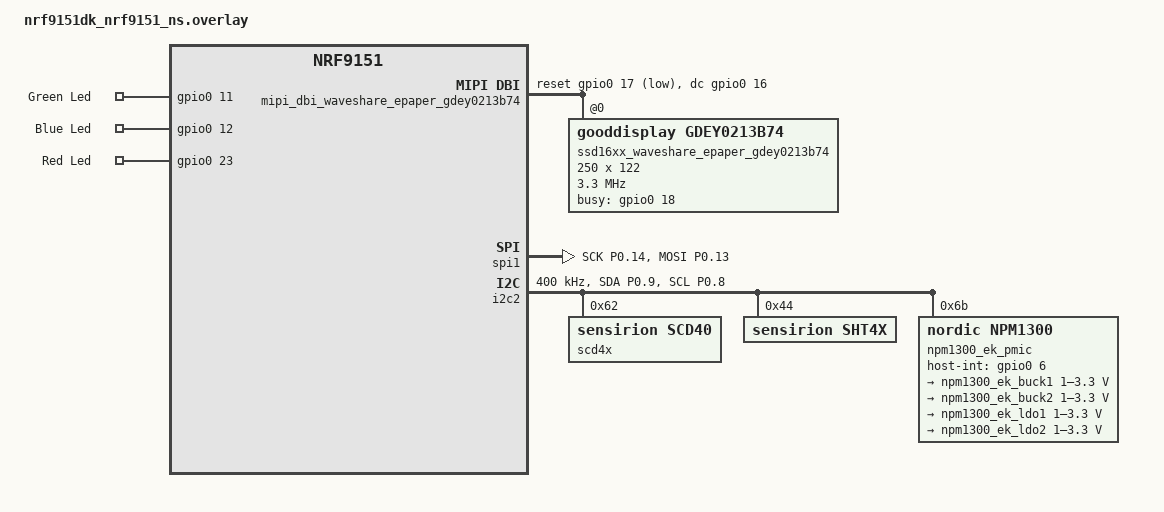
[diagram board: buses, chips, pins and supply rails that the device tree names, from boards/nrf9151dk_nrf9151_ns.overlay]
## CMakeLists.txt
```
cmake_minimum_required(VERSION 3.20.0)

find_package(Zephyr REQUIRED HINTS $ENV{ZEPHYR_BASE})
project(AWS_IoT_MQTT)

# NORDIC SDK APP START
target_sources(app PRIVATE src/main.c)


# Add the component AWS_IOT_MQTT
target_sources(app PRIVATE
    components/aws_iot_mqtt/aws_iot_mqtt.c)
target_include_directories(app
    PRIVATE
    ${CMAKE_CURRENT_SOURCE_DIR}/components/aws_iot_mqtt
)

# Add the component JSON_PAYLOAD
target_sources(app PRIVATE
    components/json_payload/json_payload.c)
target_include_directories(app
    PRIVATE
    ${CMAKE_CURRENT_SOURCE_DIR}/components/json_payload
)

# Add the component JSON_PAYLOAD
target_sources(app PRIVATE
    components/certificates/certificates.c)
target_include_directories(app
    PRIVATE
    ${CMAKE_CURRENT_SOURCE_DIR}/components/certificates
)

# Add the component SLEEP
target_sources(app PRIVATE
    components/sleep/sleep.c)
target_include_directories(app
    PRIVATE
    ${CMAKE_CURRENT_SOURCE_DIR}/components/sleep
)

# Add the component COMMON
target_sources(app PRIVATE
    components/common/common.c)
target_include_directories(app
    PRIVATE
    ${CMAKE_CURRENT_SOURCE_DIR}/components/common
)

# Add the component LTE_MANAGER
target_sources(app PRIVATE
    components/lte_manager/lte_manager.c)
target_include_directories(app
    PRIVATE
    ${CMAKE_CURRENT_SOURCE_DIR}/components/lte_manager
)

# Add the component sht40 sensor
target_sources(app PRIVATE
    components/sht40/sht40.c)
target_include_directories(app
    PRIVATE
    ${CMAKE_CURRENT_SOURCE_DIR}/components/sht40
)

# Add the component scd41 sensor
target_sources(app PRIVATE
    components/scd41/scd41.c)
target_include_directories(app
    PRIVATE
    ${CMAKE_CURRENT_SOURCE_DIR}/components/scd41
)

# Add the component led's
target_sources(app PRIVATE
    components/leds/led.c)
target_include_directories(app
    PRIVATE
    ${CMAKE_CURRENT_SOURCE_DIR}/components/leds
)

# Add the component npm1300
target_sources(app PRIVATE
    components/npm1300/npm1300.c)
target_include_directories(app
    PRIVATE
    ${CMAKE_CURRENT_SOURCE_DIR}/components/npm1300
)

target_sources(app PRIVATE
    components/epd/epd_display.c)
target_include_directories(app
    PRIVATE
    ${CMAKE_CURRENT_SOURCE_DIR}/components/epd
)
```

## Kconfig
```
menu "AWS IoT Settings"

config AWS_IOT_APP_VERSION
	string "Application version"
	default "v1.0.0"

config AWS_IOT_JSON_MESSAGE_SIZE_MAX
	int "Maximum size of JSON messages"
	default 200
	help
	  Maximum size of JSON messages that are sent to AWS IoT.

config AWS_IOT_PUBLICATION_INTERVAL_SECONDS
	int "Interval in seconds that the sample will publish data"
	default 60

config AWS_IOT_CONNECTION_RETRY_TIMEOUT_SECONDS
	int "Number of seconds between each AWS IoT connection retry"
	default 30

config AWS_IOT_DEVICE_ID_USE_HW_ID
	bool "Use HW ID as device ID"
	select AWS_IOT_CLIENT_ID_APP
	depends on HW_ID_LIBRARY
	help
	  Use the devices's hardware ID as device ID when connecting to AWS IOT

config AWS_IOT_USE_EDRX
	bool "Use edrx to save power"
	default false
	help
	  Use the extended discontineous reception method of the lte to save power

config AWS_IOT_USE_LTE_POWER_OFF
	bool "Use lte power off to save power"
	default false
	help
	  Use the lte power off method to completly power of the lte during device sleep to save power

module = AWS_IOTMQTT
module-str = AWS IoT MQTT
source "${ZEPHYR_BASE}/subsys/logging/Kconfig.template.log_config"

endmenu

menu "Zephyr Kernel"
source "Kconfig.zephyr"
endmenu
```

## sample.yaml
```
sample:
  name: AWS IoT MQTT
tests:
  sample.net.aws_iot:
    sysbuild: true
    tags: ci_build sysbuild ci_samples_net
    build_only: true
    build_on_all: true
    integration_platforms:
      - nrf9160dk/nrf9160/ns
      - nrf9151dk/nrf9151/ns

    platform_allow:
      - nrf9160dk/nrf9160/ns
      - nrf9151dk/nrf9151/ns
```

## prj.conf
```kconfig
# General
CONFIG_LOG=y
CONFIG_LOG_BUFFER_SIZE=2048
CONFIG_JSON_LIBRARY=y
CONFIG_REBOOT=y

CONFIG_NEWLIB_LIBC=y
CONFIG_NEWLIB_LIBC_FLOAT_PRINTF=y
CONFIG_FPU=y
CONFIG_CBPRINTF_FP_SUPPORT=y

# Heap and stacks
CONFIG_HEAP_MEM_POOL_SIZE=65536
CONFIG_MAIN_STACK_SIZE=25192
# CONFIG_SYSTEM_WORKQUEUE_STACK_SIZE=4096

# LTE link controller
CONFIG_LTE_LINK_CONTROL=y
CONFIG_LTE_LC_PSM_MODULE=y
CONFIG_LTE_LC_EDRX_MODULE=y

# AT commands interface
# CONFIG_AT_HOST_LIBRARY=y
# CONFIG_UART_INTERRUPT_DRIVEN=y

CONFIG_CJSON_LIB=y
CONFIG_NEWLIB_LIBC=y
CONFIG_NEWLIB_LIBC_FLOAT_PRINTF=y

# Network
CONFIG_NETWORKING=y
CONFIG_NET_NATIVE=y
CONFIG_NET_IPV4=y
CONFIG_NET_CONNECTION_MANAGER=y

# AWS IoT library
CONFIG_AWS_IOT=y
CONFIG_AWS_IOT_APP_VERSION="v1.0.0"
# CONFIG_AWS_IOT_CLIENT_ID_STATIC="359746167121867"
CONFIG_AWS_IOT_BROKER_HOST_NAME="a1pex7b5gbosrz-ats.iot.us-east-1.amazonaws.com"
CONFIG_AWS_IOT_TOPIC_UPDATE_DELTA_SUBSCRIBE=y
CONFIG_AWS_IOT_TOPIC_GET_ACCEPTED_SUBSCRIBE=y
CONFIG_AWS_IOT_TOPIC_GET_REJECTED_SUBSCRIBE=y
CONFIG_AWS_IOT_DEVICE_ID_USE_HW_ID=y
CONFIG_AWS_FOTA_DOWNLOAD_SECURITY_TAG=30

# MQTT helper library
CONFIG_MQTT_HELPER=y
CONFIG_MQTT_HELPER_SEC_TAG=30
CONFIG_MQTT_HELPER_LAST_WILL=y
CONFIG_MQTT_HELPER_STACK_SIZE=4096
CONFIG_MQTT_HELPER_LOG_LEVEL_OFF=y

# MQTT - Maximum MQTT keepalive timeout specified by AWS IoT Core
CONFIG_MQTT_KEEPALIVE=1200
CONFIG_MQTT_CLEAN_SESSION=y

CONFIG_HW_ID_LIBRARY=y
CONFIG_HW_ID_LIBRARY_SOURCE_IMEI=y

# One of the below should be n
CONFIG_AWS_IOT_USE_EDRX=y
CONFIG_AWS_IOT_USE_LTE_POWER_OFF=n

# CONFIG_AWS_IOT_LOG_LEVEL_DBG=y
# CONFIG_AWS_FOTA_LOG_LEVEL_DBG=y



# POWER MANAGEMENT

CONFIG_PM_DEVICE=n
CONFIG_POWEROFF=n




CONFIG_AT_HOST_LIBRARY=n

CONFIG_GPIO=y



CONFIG_LOG=y
CONFIG_LOG_DEFAULT_LEVEL=3
CONFIG_LOG_MODE_IMMEDIATE=y
CONFIG_LOG_BACKEND_UART=n
CONFIG_LOG_BACKEND_RTT=y




# Enable SEGGER RTT as log backend
CONFIG_USE_SEGGER_RTT=y
CONFIG_LOG_BACKEND_RTT=y

# RTT Configuration - blocking mode ensures logs aren't dropped
CONFIG_LOG_BACKEND_RTT_MODE_BLOCK=y
CONFIG_SEGGER_RTT_BUFFER_SIZE_UP=4096

# Disable UART console/logging (using RTT instead)
CONFIG_CONSOLE=n
CONFIG_UART_CONSOLE=n
CONFIG_LOG_BACKEND_UART=n




CONFIG_AWS_IOT_JSON_MESSAGE_SIZE_MAX=1024

CONFIG_REGULATOR=y
CONFIG_I2C_SHELL=y
CONFIG_FUEL_GAUGE=y
CONFIG_NRF_FUEL_GAUGE=y
CONFIG_NRF_FUEL_GAUGE_VARIANT_SECONDARY_CELL=y
CONFIG_REQUIRES_FLOAT_PRINTF=y
# CONFIG_MAIN_STACK_SIZE=1536


#ec generated settings to enable SEGGER RTT logging backend
CONFIG_SENSOR=y
CONFIG_I2C=y
CONFIG_SHT4X=y
CONFIG_SCD4X=y

# Enable the dedicated nPM1300 driver-SEE NRF github npm1300 one button repo
# CONFIG_PMIC_NPM1300=y
CONFIG_SHELL=y
CONFIG_LOG=y
CONFIG_LED=y
CONFIG_GPIO=y
CONFIG_REGULATOR=y
CONFIG_SENSOR=y
CONFIG_I2C_SHELL=y
CONFIG_LOG_CMDS=y


# nRF modem library
CONFIG_NRF_MODEM_LIB=y

# Modem key management (certificates in modem)
CONFIG_MODEM_KEY_MGMT=y


CONFIG_DOWNLOADER_STACK_SIZE=8192

# Downloader stack size (default is often 2048, not enough for TLS + FOTA)
CONFIG_DOWNLOADER_STACK_SIZE=4096

CONFIG_SYSTEM_WORKQUEUE_STACK_SIZE=8192

# SPI for display
CONFIG_SPI=y
CONFIG_SPI_NRFX=y
CONFIG_SPI_NRFX_RAM_BUFFER_SIZE=4096

# Display driver
CONFIG_DISPLAY=y
CONFIG_DISPLAY_LOG_LEVEL_DBG=y
CONFIG_SSD16XX=y

# Silence TFM logs
CONFIG_TFM_LOG_LEVEL_SILENCE=y

CONFIG_NRFX_SPIM1=y
```

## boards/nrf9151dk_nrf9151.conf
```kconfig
# General
CONFIG_HW_STACK_PROTECTION=y
CONFIG_HW_ID_LIBRARY_SOURCE_IMEI=y
CONFIG_PICOLIBC=y

# Modem related configurations
CONFIG_MODEM_INFO=y
CONFIG_AT_HOST_LIBRARY=n

# Disable Duplicate Address Detection (DAD)
# due to not being properly implemented for offloaded interfaces.
CONFIG_NET_IPV6_NBR_CACHE=n
CONFIG_NET_IPV6_MLD=n

# Zephyr NET Connection Manager and Connectivity layer.
CONFIG_NET_CONNECTION_MANAGER_MONITOR_STACK_SIZE=1024
CONFIG_NRF_MODEM_LIB_NET_IF=y

# Bootloader and FOTA related configurations

# MCUBOOT
CONFIG_BOOTLOADER_MCUBOOT=y
CONFIG_MCUBOOT_IMG_MANAGER=y

# Image manager
CONFIG_IMG_MANAGER=y
CONFIG_STREAM_FLASH=y
CONFIG_FLASH_MAP=y
CONFIG_FLASH=y
CONFIG_IMG_ERASE_PROGRESSIVELY=y

# AWS FOTA
CONFIG_AWS_FOTA=y
CONFIG_FOTA_DOWNLOAD=y
CONFIG_DOWNLOADER=y
CONFIG_DFU_TARGET=y

# Download client (needed by AWS FOTA)
# CONFIG_DOWNLOAD_CLIENT=y
# CONFIG_DOWNLOAD_CLIENT_STACK_SIZE=4096

#RTT 
# CONFIG_USE_SEGGER_RTT=y
# CONFIG_RTT_CONSOLE=y
# CONFIG_UART_CONSOLE=n

# # POWER MANAGEMENT

CONFIG_PM_DEVICE=y
CONFIG_POWEROFF=y

# Enable UART driver
CONFIG_SERIAL=y

# Enable console
CONFIG_CONSOLE=y
```

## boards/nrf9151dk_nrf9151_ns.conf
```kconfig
# General
CONFIG_HW_STACK_PROTECTION=y
CONFIG_HW_ID_LIBRARY_SOURCE_IMEI=y
CONFIG_PICOLIBC=y

# Modem related configurations
CONFIG_MODEM_INFO=y
CONFIG_AT_HOST_LIBRARY=n

# Disable Duplicate Address Detection (DAD)
# due to not being properly implemented for offloaded interfaces.
CONFIG_NET_IPV6_NBR_CACHE=n
CONFIG_NET_IPV6_MLD=n

# Zephyr NET Connection Manager and Connectivity layer.
CONFIG_NET_CONNECTION_MANAGER_MONITOR_STACK_SIZE=1024
CONFIG_NRF_MODEM_LIB_NET_IF=y

# Bootloader and FOTA related configurations

# MCUBOOT
CONFIG_BOOTLOADER_MCUBOOT=y
CONFIG_MCUBOOT_IMG_MANAGER=y

# Image manager
CONFIG_IMG_MANAGER=y
CONFIG_STREAM_FLASH=y
CONFIG_FLASH_MAP=y
CONFIG_FLASH=y
CONFIG_IMG_ERASE_PROGRESSIVELY=y

# AWS FOTA
CONFIG_AWS_FOTA=y
CONFIG_FOTA_DOWNLOAD=y
CONFIG_DOWNLOADER=y
CONFIG_DFU_TARGET=y

# Download client (needed by AWS FOTA)
# CONFIG_DOWNLOAD_CLIENT=y
# CONFIG_DOWNLOAD_CLIENT_STACK_SIZE=4096



#RTT 
CONFIG_USE_SEGGER_RTT=y
CONFIG_RTT_CONSOLE=y
CONFIG_UART_CONSOLE=n

# POWER MANAGEMENT

CONFIG_PM_DEVICE=n
CONFIG_POWEROFF=n

# Enable UART driver
CONFIG_SERIAL=n

# Enable console
CONFIG_CONSOLE=n

CONFIG_AT_HOST_LIBRARY=n
```

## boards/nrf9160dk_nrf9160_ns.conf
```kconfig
# General
CONFIG_HW_STACK_PROTECTION=y
CONFIG_HW_ID_LIBRARY_SOURCE_IMEI=y
CONFIG_PICOLIBC=y

# Modem related configurations
CONFIG_MODEM_INFO=y
CONFIG_AT_HOST_LIBRARY=y

# Disable Duplicate Address Detection (DAD)
# due to not being properly implemented for offloaded interfaces.
CONFIG_NET_IPV6_NBR_CACHE=n
CONFIG_NET_IPV6_MLD=n

# Zephyr NET Connection Manager and Connectivity layer.
CONFIG_NET_CONNECTION_MANAGER_MONITOR_STACK_SIZE=1024
CONFIG_NRF_MODEM_LIB_NET_IF=y

# Bootloader and FOTA related configurations

# MCUBOOT
CONFIG_BOOTLOADER_MCUBOOT=y
CONFIG_MCUBOOT_IMG_MANAGER=y

# Image manager
CONFIG_IMG_MANAGER=y
CONFIG_STREAM_FLASH=y
CONFIG_FLASH_MAP=y
CONFIG_FLASH=y
CONFIG_IMG_ERASE_PROGRESSIVELY=y

# AWS FOTA
CONFIG_AWS_FOTA=y
CONFIG_FOTA_DOWNLOAD=y
CONFIG_DFU_TARGET=y

# Download client (needed by AWS FOTA)
CONFIG_DOWNLOAD_CLIENT=y
CONFIG_DOWNLOAD_CLIENT_STACK_SIZE=4096
```

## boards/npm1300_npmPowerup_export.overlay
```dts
/*
* Copyright (C) 2023 Nordic Semiconductor ASA
* SPDX-License-Identifier: Apache-2.0
*/

#include <dt-bindings/regulator/npm1300.h>
#include <zephyr/dt-bindings/input/input-event-codes.h>

&arduino_i2c {
   npm1300_ek_pmic: pmic@6b {
       compatible = "nordic,npm1300";
       reg = <0x6b>;

       
    // ship-to-active-time = <96>;

       
    // long-press-reset = "one_button";


       npm1300_ek_gpio: gpio-controller {
           compatible = "nordic,npm1300-gpio";
           gpio-controller;
           #gpio-cells = <2>;
           ngpios = <5>;
       };

       npm1300_ek_regulators: regulators {
           compatible = "nordic,npm1300-regulator";

           
npm1300_ek_buck1: BUCK1 {
    regulator-min-microvolt = <1000000>;
    regulator-max-microvolt = <3300000>;
    
    retention-microvolt = <1000000>;
    
    
    
    
    
};



npm1300_ek_buck2: BUCK2 {
    regulator-min-microvolt = <1000000>;
    regulator-max-microvolt = <3300000>;
    
    retention-microvolt = <1000000>;
    
    
    
    
    
};


            
npm1300_ek_ldo1: LDO1 {
    regulator-min-microvolt = <1000000>;
    regulator-max-microvolt = <3300000>;
    
    regulator-initial-mode = <NPM1300_LDSW_MODE_LDSW>;
    
    
};



npm1300_ek_ldo2: LDO2 {
    regulator-min-microvolt = <1000000>;
    regulator-max-microvolt = <3300000>;
    
    regulator-initial-mode = <NPM1300_LDSW_MODE_LDSW>;
    
    regulator-boot-on;
};

       };

       
npm1300_ek_charger: charger {
    compatible = "nordic,npm1300-charger";
    term-microvolt = <4099999.9999999995>;
    term-warm-microvolt = <3600000>;
    // term-current-percent = <10>;
    current-microamp = <110000>;
    // trickle-microvolt = <2500000>;
    dischg-limit-microamp = <1340000>;
    vbus-limit-microamp = <500000>;
    thermistor-ohms = <10000>;
    thermistor-beta = <3380>;
    // disable-recharge;
    charging-enable;
    
};

       
npm1300_ek_leds: leds {
    compatible = "nordic,npm1300-led";
    nordic,led0-mode = "error";    
nordic,led1-mode = "charging";    
nordic,led2-mode = "host";
};

   };
};
```

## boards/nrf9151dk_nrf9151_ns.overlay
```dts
#include <dt-bindings/regulator/npm1300.h>
#include <zephyr/dt-bindings/input/input-event-codes.h>

/ {
    chosen {
        zephyr,display = &ssd16xx_waveshare_epaper_gdey0213b74;
		//  zephyr,console = &uart0;
        // zephyr,shell-uart = &uart0;
        // zephyr,uart-mcumgr = &uart0;
    };
    mipi_dbi_waveshare_epaper_gdey0213b74 {
		compatible = "zephyr,mipi-dbi-spi";
		spi-dev = <&spi1>;
		dc-gpios = <&gpio0 16 GPIO_ACTIVE_HIGH>;	/* DC Pin*/
		reset-gpios = <&gpio0 17 GPIO_ACTIVE_LOW>;	/* Reset Pin */
		#address-cells = <1>;
		#size-cells = <0>;

		ssd16xx_waveshare_epaper_gdey0213b74: ssd16xxfb@0 {
			compatible = "gooddisplay,gdey0213b74", "solomon,ssd1680";  // waveshare_epaper_gdey0213b74, for FC-A002.
            // compatible = "gooddisplay,gdeh0213b72" , "solomon,ssd1675a"; //SSD1675A / ssd16xx waveshare_epaper_gdeh0213b72
			// compatible = "gooddisplay,gdeh0213b1","solomon,ssd1673";   // waveshare_epaper_gdeh0213b1
			

			mipi-max-frequency = <3300000>;
			reg = <0>;
			width = <250>;
			height = <122>;
			busy-gpios = <&gpio0 18 GPIO_ACTIVE_HIGH>;	/* BUSY Pin */
            rotation=<0>;
			tssv = <0x80>;

			full {
				border-waveform = <0x05>;
			};

			partial {
				border-waveform = <0x3c>;
			};
		};
	};
};
&spi1 {
	status = "okay";
	cs-gpios = <&gpio0 15 GPIO_ACTIVE_LOW>;	/* CS Pin */
    pinctrl-0 = <&spi1_default>;
	pinctrl-1 = <&spi1_sleep>;
	pinctrl-names = "default", "sleep";
    
};


&i2c2 {
    compatible = "nordic,nrf-twim";
    status = "okay";
    pinctrl-0 = <&i2c0_default>;
    pinctrl-1 = <&i2c0_sleep>;
    pinctrl-names = "default", "sleep";
    clock-frequency = <I2C_BITRATE_FAST>;
    scd4x: scd4x@62 {
        status = "okay";
        compatible = "sensirion,scd40";
        // mode = <0>;
        reg = <0x62>;
    };
    sht4x: sht4x@44 {
        status = "okay";
        compatible = "sensirion,sht4x";
        reg = <0x44>;
        repeatability = <2>;
    };
   npm1300_ek_pmic: pmic@6b {
       compatible = "nordic,npm1300";
       reg = <0x6b>;
       host-int-gpios = <&gpio0 6 0>;
	//    pmic-int-pin = <3>;
       npm1300_ek_gpio: gpio-controller {
           compatible = "nordic,npm1300-gpio";
           gpio-controller;
           #gpio-cells = <2>;
           ngpios = <5>;
       };

       npm1300_ek_regulators: regulators {
           compatible = "nordic,npm1300-regulator";
    
npm1300_ek_buck1: BUCK1 {
    regulator-min-microvolt = <1000000>;
    regulator-max-microvolt = <3300000>;
    
    retention-microvolt = <1200000>;   
};
npm1300_ek_buck2: BUCK2 {
    regulator-min-microvolt = <1000000>;
    regulator-max-microvolt = <3300000>;
    
    retention-microvolt = <1800000>;  
};
npm1300_ek_ldo1: LDO1 {
    regulator-min-microvolt = <1000000>;
    regulator-max-microvolt = <3300000>;
    
    regulator-initial-mode = <NPM1300_LDSW_MODE_LDSW>;    
};
npm1300_ek_ldo2: LDO2 {
    regulator-min-microvolt = <1000000>;
    regulator-max-microvolt = <3300000>;
    
    regulator-initial-mode = <NPM1300_LDSW_MODE_LDSW>;
    
    regulator-boot-on;
};
       };  
npm1300_ek_charger: charger {
    compatible = "nordic,npm1300-charger";
    term-microvolt = <4000000>;
    term-warm-microvolt = <3600000>;
    // term-current-percent = <10>;
    current-microamp = <32000>;
    // trickle-microvolt = <2900000>;
    dischg-limit-microamp = <200000>;
    vbus-limit-microamp = <500000>;
    thermistor-ohms = <10000>;
    thermistor-beta = <3380>;
    
    charging-enable;  
};      
npm1300_ek_leds: leds {
    compatible = "nordic,npm1300-led";
    nordic,led0-mode = "charging";    
nordic,led1-mode = "error";    
nordic,led2-mode = "host";
};

   };
};


&pinctrl {
    i2c0_default: i2c0_default {
        group1 {
            psels = <NRF_PSEL(TWIM_SDA, 0, 9)>,
                    <NRF_PSEL(TWIM_SCL, 0, 8)>;
        };
    };

    i2c0_sleep: i2c0_sleep {
        group1 {
            psels = <NRF_PSEL(TWIM_SDA, 0, 9)>,
                    <NRF_PSEL(TWIM_SCL, 0, 8)>;
            low-power-enable;
        };
    };

    spi1_default: spi1_default {
		group1 {
			psels = <NRF_PSEL(SPIM_SCK,  0, 14)>,
					<NRF_PSEL(SPIM_MOSI, 0, 13)>;
                    // <NRF_PSEL(SPIM_MISO, 0, 24)>;//not required.
					
		};
	};
	spi1_sleep: spi1_sleep {
		group1 {
			psels = <NRF_PSEL(SPIM_SCK, 0,  14)>,
					<NRF_PSEL(SPIM_MOSI, 0, 13)>;
                    // <NRF_PSEL(SPIM_MISO, 0, 24)>;//not required.
					
			low-power-enable;
		};
	};

    // uart0_default: uart0_default {
	// 	group1 {
	// 		psels = <NRF_PSEL(UART_TX, 0, 29)>;
	// 			// <NRF_PSEL(UART_RTS, 0, 14)>;
	// 	};
	// 	group2 {
	// 		psels = <NRF_PSEL(UART_RX, 0, 30)>;
	// 			// <NRF_PSEL(UART_CTS, 0, 15)>;
	// 		// bias-pull-up;
	// 	};
	// };

	// uart0_sleep: uart0_sleep {
	// 	group1 {
	// 		psels = <NRF_PSEL(UART_TX, 0, 29)>,
	// 			<NRF_PSEL(UART_RX, 0, 30)>;
	// 			// <NRF_PSEL(UART_RTS, 0, 14)>,
	// 			// <NRF_PSEL(UART_CTS, 0, 15)>;
	// 		// low-power-enable;
	// 	};
	// };

};


/{
    CUSTOM_PINS_PCB {
        compatible = "gpio-keys";
        green_led: green_led{
            gpios = <&gpio0 11 GPIO_ACTIVE_HIGH>;   /*GPIO PIN P0.11 */
            label = "Green Led";
        };
        blue_led: blue_led{
            gpios = <&gpio0 12 GPIO_ACTIVE_HIGH>;   /*GPIO PIN P0.12 */
            label = "Blue Led";
        };
        red_led: red_led{
            gpios = <&gpio0 23 GPIO_ACTIVE_HIGH>;   /*GPIO PIN P0.13 */
            label = "Red Led";
        };
    };
};


// &uart0 {
// 	status = "okay";
//     hw-flow-control;
// 	current-speed = <9600>;
//     label = "UART0";
// 	pinctrl-0 = <&uart0_default>;
// 	pinctrl-1 = <&uart0_sleep>;
// 	pinctrl-names = "default", "sleep";
// };


&uart1 {
    status = "disabled";
};

// &uart0 {
//     status = "disabled";
// };

&spi3 {
    status="disabled";
};


&button2 {
    status="disabled";
};

&led3 {
    status="disabled";
};
```

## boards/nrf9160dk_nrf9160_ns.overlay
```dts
&i2c1 {
    compatible = "nordic,nrf-twim";
    status = "okay";
    pinctrl-0 = <&i2c0_default>;
    pinctrl-1 = <&i2c0_sleep>;
    pinctrl-names = "default", "sleep";
    clock-frequency = <I2C_BITRATE_FAST>;
    scd4x: scd4x@62 {
        status = "okay";
        compatible = "sensirion,scd41";
        mode = <0>;
        reg = <0x62>;
    };
    sht4x: sht4x@44 {
        status = "okay";
        compatible = "sensirion,sht4x";
        reg = <0x44>;
        repeatability = <2>;
    };
};
&spi2 {
	status = "okay";
	cs-gpios = <&gpio0 20 GPIO_ACTIVE_LOW>;
	pinctrl-0 = <&spi2_default>;
	pinctrl-1 = <&spi2_sleep>;
	pinctrl-names = "default", "sleep";
	spi_epd: spi_epd@0 {
		compatible = "vnd,spi-device";
			reg = <0>;
			spi-max-frequency = <8000000>;
			label = "spi_epd";
	};
};

&pinctrl {
    i2c0_default: i2c0_default {
        group1 {
            psels = <NRF_PSEL(TWIM_SDA, 0, 9)>,
                    <NRF_PSEL(TWIM_SCL, 0, 8)>;
        };
    };

    i2c0_sleep: i2c0_sleep {
        group1 {
            psels = <NRF_PSEL(TWIM_SDA, 0, 9)>,
                    <NRF_PSEL(TWIM_SCL, 0, 8)>;
            low-power-enable;
        };
    };
    spi2_default: spi2_default {
		group1 {
			psels = <NRF_PSEL(SPIM_SCK, 0, 22)>,
					<NRF_PSEL(SPIM_MOSI, 0, 23)>,
                    <NRF_PSEL(SPIM_MISO, 0,24)>;
					
		};
	};
	spi2_sleep: spi2_sleep {
		group1 {
			psels = <NRF_PSEL(SPIM_SCK, 0, 22)>,
					<NRF_PSEL(SPIM_MOSI, 0, 23)>,
                    <NRF_PSEL(SPIM_MISO, 0,24)>;

					
			low-power-enable;
		};
	};

    uart0_default: uart0_default {
        group1 {
            psels = <NRF_PSEL(UART_TX, 0, 30)>;  
                    // <NRF_PSEL(UART_RTS, 0, 29)>; 
        };
        group2 {
            psels = <NRF_PSEL(UART_RX, 0, 29)>,  
                    <NRF_PSEL(UART_CTS, 0, 26)>; 
            bias-pull-up;
        };
    };

    uart0_sleep: uart0_sleep {
        group1 {
            psels = <NRF_PSEL(UART_TX, 0, 30)>,  
                    <NRF_PSEL(UART_RX, 0, 29)>, 
                    // <NRF_PSEL(UART_RTS, 0, 29)>, 
                    <NRF_PSEL(UART_CTS, 0, 26)>; 
            low-power-enable;
        };
    };
};


/{
    CUSTOM_PINS_PCB {
        compatible = "gpio-keys";
        green_led: green_led{
            gpios = <&gpio0 11 GPIO_ACTIVE_HIGH>;   /*GPIO PIN P0.11 */
            label = "Green Led";
        };
        blue_led: blue_led{
            gpios = <&gpio0 12 GPIO_ACTIVE_HIGH>;   /*GPIO PIN P0.12 */
            label = "Blue Led";
        };
        red_led: red_led{
            gpios = <&gpio0 13 GPIO_ACTIVE_HIGH>;   /*GPIO PIN P0.13 */
            label = "Red Led";
        };
    };
};



&uart1 {
    status = "disabled";
};

&uart0 {
	status = "okay";
	current-speed = <115200>;
    label = "UART0";
	pinctrl-0 = <&uart0_default>;
	pinctrl-1 = <&uart0_sleep>;
	pinctrl-names = "default", "sleep";
};






// &spi3 {
//     status = "disabled";
// };

// &i2c2 {
//     status = "disabled";
// };

// &adc {
//     status = "disabled";
// };

// &pwm0 {
//     status = "disabled";
// };

// &button0 {
//     status = "disabled";
// };
// &button1 {
//     status = "disabled";
// };
// &button2 {
//     status = "disabled";
// };
// &button3 {
//     status = "disabled";
// };
// &led0 {
//     status = "disabled";
// };

// &led1 {
//     status = "disabled";
// };

// &led2 {
//     status = "disabled";
// };

// &led3 {
//     status = "disabled";
// };
```

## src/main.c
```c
#include <stdio.h>
#include <stdlib.h>
#include <zephyr/kernel.h>
#include <zephyr/sys/reboot.h>

#include "aws_iot_mqtt.h"
#include "json_payload.h"
#include "certificates.h"
#include "lte_manager.h"
#include "common.h"

#include "../components/scd41/scd41.h"
#include "../components/sht40/sht40.h"
#include "../components/leds/led.h"
#include "../components/npm1300/npm1300.h"
#include "../components/epd/epd_display.h"
#include <zephyr/drivers/sensor.h>
#include <zephyr/kernel.h>

extern const struct device *charger;   
extern volatile bool vbus_connected;
void peripherals_init(void);
float read_battery_voltage(void);
void on_power_event(power_event_t event);
void event_callback(const struct device *dev, struct gpio_callback *cb, uint32_t pins);
void epd_draw_ui(int co2_ppm, float temperature, float humidity,
                 int battery_percent, bool charging, int signal_rsrp);
LOG_MODULE_REGISTER(MAIN);


#define ONE_MINUTE_MS 60000
#define TEN_MINUTES_MS 600000
#define TWO_MINUTES_MS 120000

uint64_t AWS_IOT_WAIT_TIME = 0;

float temp = 0.0f;
float hum = 0.0f;
float co2 = 0.0f;
float voltage=0.0f;
float soc = 0.0f;                   
int16_t rsrp_value = 0;  
char power_source[16] = "BATTERY";  

bool high_priority_alert = false;
bool low_priority_alert = false;
int epd_init(void);
float get_battery_soc(void);
float get_battery_voltage(void);

bool device_sleep = false;

void publish_named_shadow_state(const char *thing_name, const char *shadow_name)
{
	if (!thing_name || !shadow_name)
	{
		LOG_ERR("Thing name or shadow name is NULL");
		return;
	}

	char topic[128];
	snprintf(topic, sizeof(topic),
			 "$aws/things/%s/shadow/name/%s/update",
			 thing_name, shadow_name);

	char payload[256];
	snprintf(payload, sizeof(payload),
			 "{"
			 "\"state\": {"
			 "  \"reported\": {"
			 "    \"temperature\": %.2f,"
			 "    \"humidity\": %.2f,"
			 "    \"co2\": %.2f"
			 "  }"
			 "}"
			 "}",
			 temp, hum, co2);

	int err = aws_iot_publish_topic(topic, payload, MQTT_QOS_1_AT_LEAST_ONCE);
	if (err)
	{
		LOG_ERR("Failed to publish named shadow: %d", err);
	}
}

int main(void)
{
	LOG_INF("Firmware Version: Alpha_0.3.");
	LOG_INF("OTA works................/n");
	uint64_t device_sleep_time = k_uptime_get_32();
	LOG_INF("The AWS IoT MQTT started, version: %s\n\r", CONFIG_AWS_IOT_APP_VERSION);
	// write_device_certs_to_modem();    //writes certs in modem.
	LOG_INF("Initializing display...");
    int ret = epd_init();
    if (ret != 0) {
        LOG_ERR("Display init failed: %d", ret);
    } 
    else {
        k_msleep(100);
        /* Show startup screen */
        epd_draw_ui(0, 0.0f, 0.0f, 0, false,0);
    }
	peripherals_init();
 // Register power event callback BEFORE enable_regulator()
    npm1300_register_power_callback(on_power_event);
	enable_regulator();

	int err;
	const char *topic = NULL;
	DEVICE_STATE = DEVICE_STATE_INIT;

	register_lte_lc_event_handler();
	
	while (1)
	{
		switch (DEVICE_STATE)
		{
		case DEVICE_STATE_INIT:
			LOG_INF("DEVICE STATE : DEVICE INIT\n\r");
			err = lte_net_mgmt_connect();
			if (err)
			{
				LOG_ERR("LTE Net mgmt Failed, error: %d", err);
				FATAL_ERROR();
			}
			err = aws_iot_client_init();
			if (err)
			{
				LOG_ERR("aws_iot_client_init, error: %d", err);
				FATAL_ERROR();
				return err;
			}
			topic = aws_iot_get_telemetry_pub_topic();
			if (!topic || topic[0] == '\0') {
				LOG_ERR("Telemetry topic not ready");
				FATAL_ERROR();
			}
			LOG_INF("Telemetry publish topic: %s", topic);

			DEVICE_STATE = DEVICE_STATE_LTE_CONNECT;
			break;

		case DEVICE_STATE_LTE_CONNECT:
			if (LTE_CONNECTED)
            {
                LOG_INF("DEVICE STATE : LTE CONNECT\n\r");
                DEVICE_STATE = DEVICE_BATTERY_FUEL_GUAGE;
            }
			break;

		case DEVICE_BATTERY_FUEL_GUAGE:
		k_msleep(800);
			 // Only control power if lsout_feature is enabled.
			if (lsout_feature) {
				printk("Sensor Power save feature Enabled.\n\r");
				printk("Regulator Turned On.\n\r");
				enable_regulator();
				printk("Power On delay: %d \n\r",poweron_delay);
				k_msleep(poweron_delay);  // Use shadow-controlled delay

			} else { 
				printk("Sensor Power save feature Not Enabled.\n\r");

			}
				float soc = get_battery_soc();
				float voltage = get_battery_voltage();
			
				printk("Battery: %.1f%% (%.3fV)", (double)soc, (double)voltage);
				  if (LTE_CONNECTED) {
					int16_t rsrp;
					if (lte_read_rsrp_dbm(&rsrp)) {
						rsrp_value = rsrp;
						printk("RSRP: %d dBm\n", rsrp_value);
					} else {
						printk("RSRP read failed, keeping old value: %d\n", rsrp_value);
					}
    }
    
			DEVICE_STATE = DEVICE_STATE_TEMP_HUM;
    		break;


		case DEVICE_STATE_TEMP_HUM:
		
			temp = sht4x_read_temperature();
			hum = sht4x_read_humidity();
			DEVICE_STATE = DEVICE_STATE_CO2;
			break;

		case DEVICE_STATE_CO2:
			co2 = scd41_read_co2();
			  epd_draw_ui(
                (int)co2,           /* CO2 in ppm */
                temp,               /* Temperature */
                hum,                /* Humidity */
                (int)soc,           /* Battery % */
                vbus_connected,     /* Charging status */
                rsrp_value          /* Signal strength */
            );
			
			 // Only control power if lsout_feature is enabled.
			if (lsout_feature) {
				disable_regulator();
				printk("Regulator Turned OFF.");
			}
			DEVICE_STATE = DEVICE_STATE_POWER_SOURCE;
			break;
		case DEVICE_STATE_POWER_SOURCE:
			if (vbus_connected == true) {
			strcpy(power_source, "VBUS");
				LOG_INF("Power Source: VBUS");
			} else {
				strcpy(power_source, "BATTERY");
				LOG_INF("Power Source: BATTERY");
			}
			DEVICE_STATE = DEVICE_STATE_AWS_SEND_DATA;
			break;

		case DEVICE_STATE_AWS_SEND_DATA:
			if (!OTA_STARTED && AWS_IOT_MQTT_CONNECTED)
            {
                LOG_INF("DEVICE STATE : AWS SEND DATA\n\r");

                char payload[300];
                snprintf(payload, sizeof(payload),
                    "{"
                    "\"temperature\": %.2f,"
                    "\"humidity\": %.2f,"
                    "\"co2\": %.2f,"
                    "\"voltage\": %.2f,"
                    "\"charge(soc)\": %.2f,"
                    "\"rsrp\": %d,"          
                    "\"powersource\": \"%s\""
                    "}",
                    temp, hum, co2, voltage, soc, rsrp_value, power_source);

                err = aws_iot_publish_topic(topic, payload, MQTT_QOS_0_AT_MOST_ONCE);
                if (err)
                {
                    LOG_ERR("Failed to publish sensor data: %d", err);
                }

                k_msleep(6000);
                AWS_IOT_WAIT_TIME = k_uptime_get_32();

                if (OTA_STARTED)
                {
                    DEVICE_STATE = DEVICE_STATE_OTA;
                    break;
                }
                DEVICE_STATE = DEVICE_STATE_SLEEP;
            }
			break;

		case DEVICE_STATE_OTA:
			k_msleep(1000);
			break;

		case DEVICE_STATE_SLEEP:
			while (1)
			{
				if (SHADOW_PUBLISHED || k_uptime_get_32() - AWS_IOT_WAIT_TIME >= TWO_MINUTES_MS)
				{
					break;
				}
				k_msleep(500);
			}
			if (OTA_STARTED)
			{
				DEVICE_STATE = DEVICE_STATE_OTA;
				break;
			}
			device_sleep = true;
			aws_iot_cancel_shadow_work();

#if CONFIG_AWS_IOT_USE_LTE_POWER_OFF
			aws_iot_mqtt_disconnect();
			lte_net_mgmt_disconnect();
			LOG_INF("DEVICE STATE : SLEEP LTE Power off TIME : [ %d ]\n\r", device_sleep_time_minutes);
#elif CONFIG_AWS_IOT_USE_EDRX
			LOG_INF("DEVICE STATE : SLEEP EDRX Request TIME [%d]\n\r", device_sleep_time_minutes);
			device_sleep_request_edrx(device_sleep_time_minutes);
#endif
			DEVICE_STATE = DEVICE_STATE_IDLE;
			break;

		case DEVICE_STATE_IDLE:
			if (k_uptime_get_32() - device_sleep_time >= device_sleep_time_minutes)
			{
				LOG_WRN("Time passed after sleep %lld\n\r", device_sleep_time);
				device_sleep = false;
				device_sleep_time = k_uptime_get_32();
#if CONFIG_AWS_IOT_USE_EDRX
				DEVICE_STATE = DEVICE_BATTERY_FUEL_GUAGE;
#elif CONFIG_AWS_IOT_USE_LTE_POWER_OFF
				DEVICE_STATE = DEVICE_STATE_INIT;
#endif
			}
			break;

		default:
			break;
		}
		k_msleep(200);
	}
	return 0;
}

void peripherals_init(void)
{
	if (scd41_device_check() == 0)
	{
		LOG_INF("SCD41 ready.\n");
	}
	else
	{
		LOG_ERR("SCD41 not ready!");
	}
	if (sht4x_device_check() == 0)
	{
		LOG_INF("SHT40 ready.\n");
	}
	else
	{
		LOG_ERR("SHT40 not ready!");
	}

	leds_init();
}


float read_battery_voltage(void)
{
    struct sensor_value val;
    float voltage;

    if (!device_is_ready(charger)) {
        printk("Charger not ready!\n");
        return -1.0f;
    }

    /* Trigger measurement */
    if (sensor_sample_fetch(charger) < 0) {
        printk("Sensor fetch failed\n");
        return -1.0f;
    }

    /* Read voltage */
    if (sensor_channel_get(charger, SENSOR_CHAN_GAUGE_VOLTAGE, &val) < 0) {
        printk("Voltage read failed\n");
        return -1.0f;
    }

    voltage = (float)val.val1 + ((float)val.val2 / 1000000.0f);
    return voltage;
}

// Power event handler
void on_power_event(power_event_t event)
{
    // Only publish if connected to AWS
    if (!AWS_IOT_MQTT_CONNECTED) {
        LOG_WRN("AWS not connected, skipping power event publish");
        return;
    }

    const char *topic = aws_iot_get_telemetry_pub_topic();
    if (!topic) {
        LOG_ERR("Topic not ready");
        return;
    }

    char payload[128];
    const char *event_str;
    
    switch (event) {
        case POWER_EVENT_USB_CONNECTED:
            event_str = "USB_CONNECTED";
            LOG_INF("Publishing USB connected event");
            break;
        case POWER_EVENT_USB_DISCONNECTED:
            event_str = "USB_DISCONNECTED";
            LOG_INF("Publishing USB disconnected event");
            break;
        default:
            return;
    }

    snprintf(payload, sizeof(payload),
             "{"
             "\"event\": \"%s\","
             "\"timestamp\": %lld,"
             "\"vbus_connected\": %s"
             "}",
             event_str,
             k_uptime_get(),
             vbus_connected ? "true" : "false");

    int err = aws_iot_publish_topic(topic, payload, MQTT_QOS_1_AT_LEAST_ONCE);
    if (err) {
        LOG_ERR("Failed to publish power event: %d", err);
    } else {
        LOG_INF("Power event published: %s", event_str);
    }
}
```
